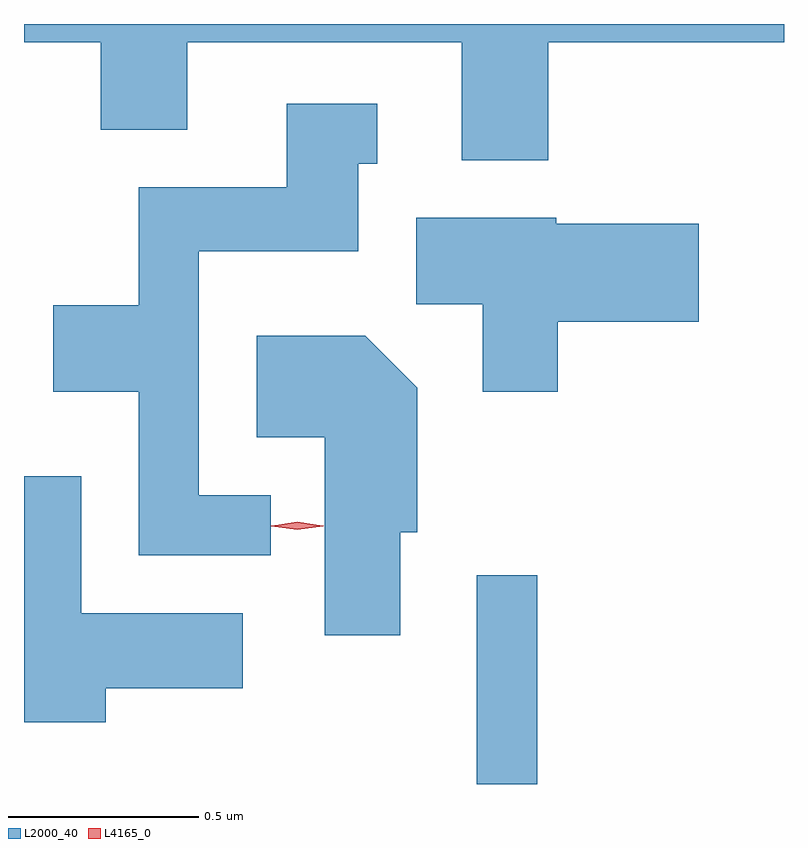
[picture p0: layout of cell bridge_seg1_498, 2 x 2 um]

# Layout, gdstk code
import gdstk
lib = gdstk.Library(unit=1e-6, precision=1e-09)
def R(c, l, rs):  # rectangles x0, y0, x1, y1
    for r in rs: c.add(gdstk.rectangle(r[:2], r[2:], *l))
def P(c, l, *ps):  # polygons
    for p in ps: c.add(gdstk.Polygon(p, *l))
L2000_40 = (2000, 40)
L4165_0 = (4165, 0)

bridge_seg1_498 = lib.new_cell('bridge_seg1_498')
R(bridge_seg1_498, L2000_40, [(472.431,870.984,472.589,871.533)])
P(bridge_seg1_498, L2000_40, [(472.619,872.936),(473.239,872.936),(473.239,872.984),(471.239,872.984),(471.239,872.936),(471.441,872.936),(471.441,872.706),(471.669,872.706),(471.669,872.936),(472.391,872.936),(472.391,872.626),(472.619,872.626)],
  [(471.888,871.744),(471.699,871.744),(471.699,872.386),(472.119,872.386),(472.119,872.616),(472.168,872.616),(472.168,872.774),(471.931,872.774),(471.931,872.554),(471.541,872.554),(471.541,872.244),(471.316,872.244),(471.316,872.016),(471.541,872.016),(471.541,871.586),(471.888,871.586)],
  [(472.644,872.201),(473.014,872.201),(473.014,872.459),(472.64,872.459),(472.64,872.474),(472.271,872.474),(472.271,872.246),(472.446,872.246),(472.446,872.016),(472.644,872.016)],
  [(472.229,871.646),(472.274,871.646),(472.274,872.027),(472.137,872.164),(471.851,872.164),(471.851,871.896),(472.031,871.896),(472.031,871.376),(472.229,871.376)],
  [(471.454,871.236),(471.814,871.236),(471.814,871.434),(471.389,871.434),(471.389,871.794),(471.239,871.794),(471.239,871.146),(471.454,871.146)])
P(bridge_seg1_498, L4165_0, [(471.958,871.654),(471.892,871.663),(471.892,871.664),(471.892,871.664),(471.958,871.674),(472.025,871.664),(472.025,871.664),(472.025,871.663)],
  [(471.958,871.653),(471.889,871.662),(471.888,871.663),(471.889,871.663),(471.958,871.673),(472.027,871.663),(472.028,871.663),(472.027,871.662)])

lib.write_gds('bridge_seg1_498.gds')
